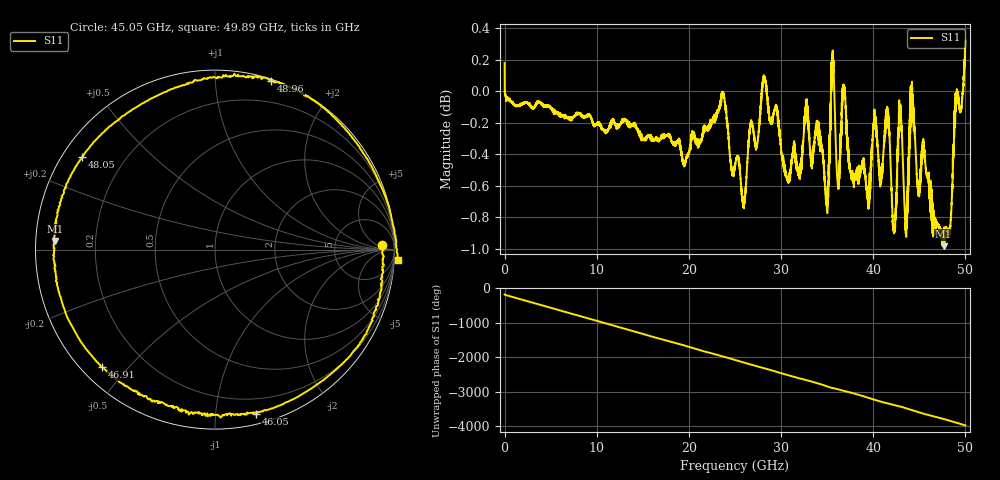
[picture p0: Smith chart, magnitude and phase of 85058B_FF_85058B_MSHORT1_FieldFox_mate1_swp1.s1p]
!Created with skrf (http://scikit-rf.org).
# Hz S RI R 50.0
!freq ReS11 ImS11
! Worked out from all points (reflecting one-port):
!   10001 points, 300 kHz to 50 GHz, reference 50 ohm
!   lowest |S11| = -1.0 dB at 47.63 GHz (marker M1), VSWR 17.70, Z = 2.83 + j1.35 ohm
!   phase of S11 starts at -176 deg and turns -3797 deg over the sweep
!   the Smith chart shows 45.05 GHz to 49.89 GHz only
!   S11 on the Smith chart (normalised r, x): 45.05 GHz: 25, +9; 46.05 GHz: 0.08, -1.28; 46.91 GHz: 0.06, -0.43; 48.05 GHz: 0.06, +0.31; 48.96 GHz: 0.01, +1.39; 49.89 GHz: -11, -31
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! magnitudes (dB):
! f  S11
! 300 kHz  0.2
! 6.25 GHz  -0.2
! 12.5 GHz  -0.2
! 18.75 GHz  -0.3
! 23.69 GHz  0.0
! 25 GHz  -0.5
! 25.98 GHz  -0.7
! 28.16 GHz  0.1
! 31.25 GHz  -0.4
! 32.78 GHz  -0.1
! 34.95 GHz  -0.7
! 35.62 GHz  0.2
! 36.16 GHz  -0.6
! 36.82 GHz  0.0
! 37.5 GHz  -0.5
! 41.52 GHz  -0.2
! 42.27 GHz  -0.9
! 42.93 GHz  -0.2
! 43.75 GHz  -0.7
! 44.21 GHz  -0.1
! 45.05 GHz  -0.6
! 46.05 GHz  -0.5
! 46.91 GHz  -0.8
! 47.63 GHz  -1.0
! 48.05 GHz  -0.9
! 48.96 GHz  -0.1
! 49.89 GHz  0.2
! 50 GHz  0.3
